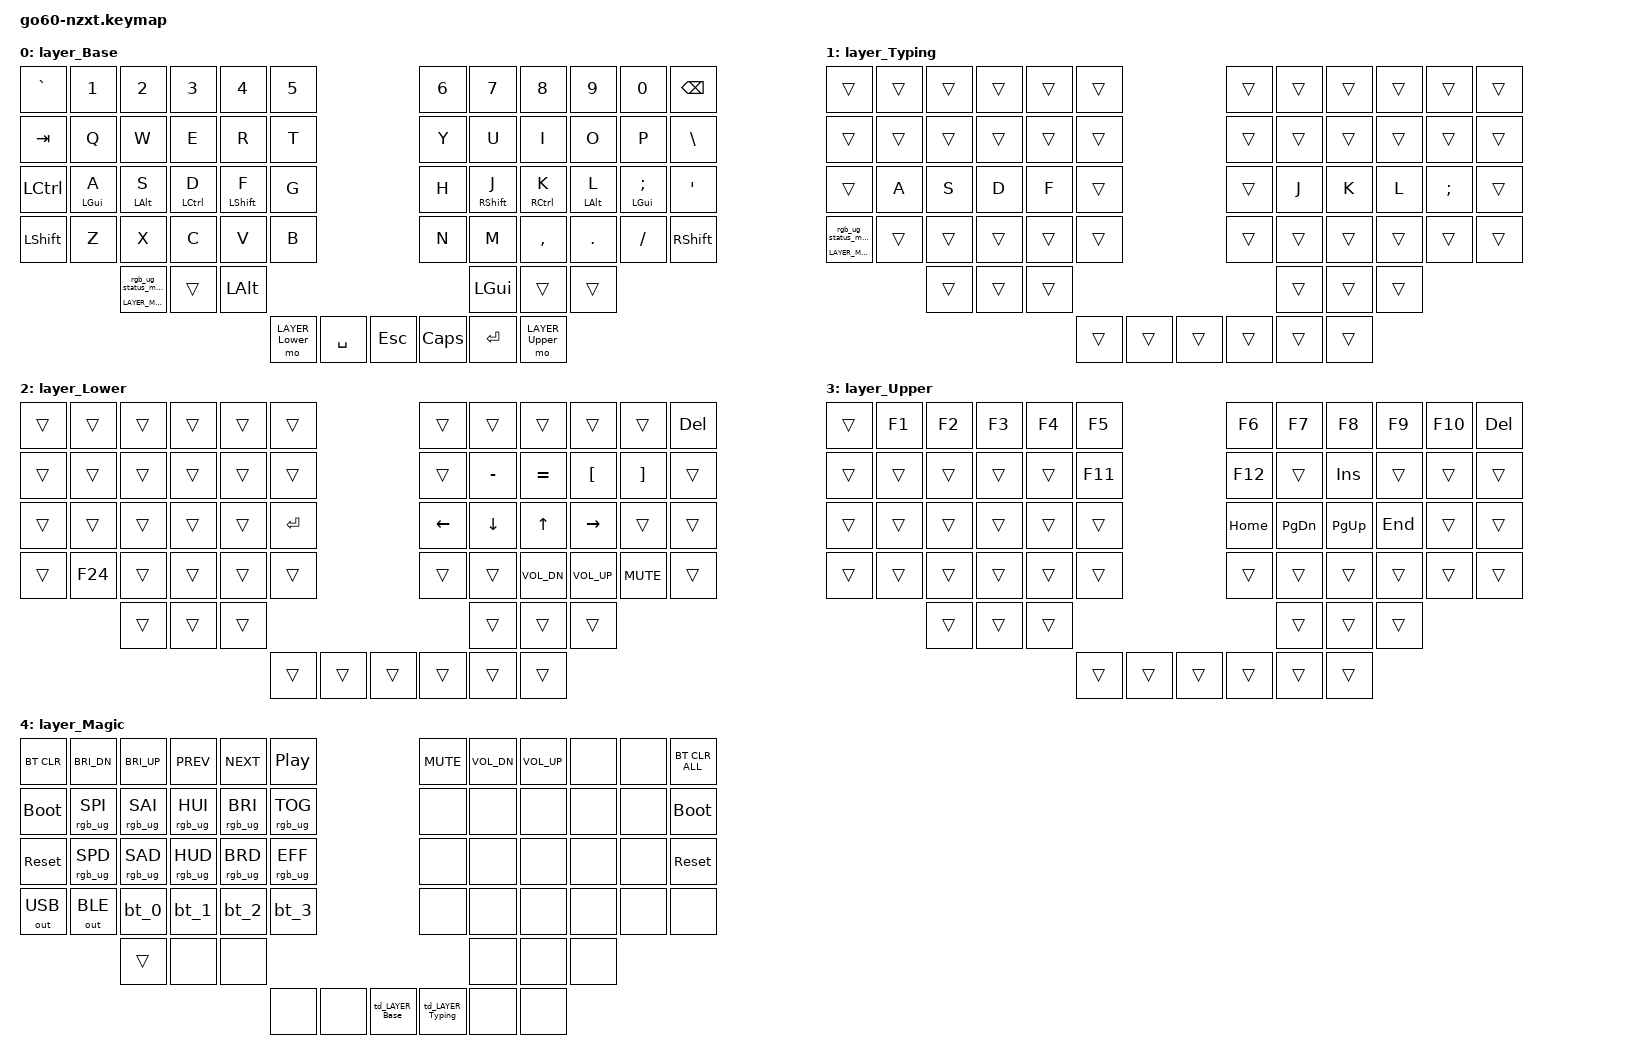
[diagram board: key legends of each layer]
/*
 * Copyright (c) 2020 The ZMK Contributors
 * Copyright (c) 2025 Innaworks Development Limited, trading as MoErgo
 *
 * SPDX-License-Identifier: MIT
 */


/* THIS FILE WAS GENERATED BY GO60 LAYOUT EDITOR
 *
 * This file was generated automatically. You may or may not want to
 * edit it directly.
 */

#include <behaviors.dtsi>

/* Include all behavior includes needed */

#include <dt-bindings/zmk/outputs.h>
#include <dt-bindings/zmk/keys.h>
#include <dt-bindings/zmk/bt.h>
#include <dt-bindings/zmk/rgb.h>

#include <input/processors.dtsi>
#include <dt-bindings/zmk/input_transform.h>
#include <zephyr/dt-bindings/input/input-event-codes.h>

/* On demand includes */
#include <dt-bindings/zmk/input_transform.h>
#include <dt-bindings/zmk/pointing.h>
#include <input/processors.dtsi>

/* Helper Macros, based on https://github.com/urob/zmk-helpers/ */

#pragma once

#define ZMK_HELPER_STRINGIFY(x) #x

// Preprocessor mechanism to overload macros, cf. https://stackoverflow.com/a/27051616/6114651
#define VARGS_(_10, _9, _8, _7, _6, _5, _4, _3, _2, _1, N, ...) N
#define VARGS(...) VARGS_(__VA_ARGS__, 10, 9, 8, 7, 6, 5, 4, 3, 2, 1, 0)
#define CONCAT_(a, b) a##b
#define CONCAT(a, b) CONCAT_(a, b)

#define ZMK_BEHAVIOR_CORE_tap_dance  \
    compatible = "zmk,behavior-tap-dance"; \
    #binding-cells = <0>

#define ZMK_BEHAVIOR(name, type, ...) \
    name: name { \
        ZMK_BEHAVIOR_CORE_ ## type; \
        __VA_ARGS__ \
    };

#define ZMK_TAP_DANCE(name, ...) \
    ZMK_BEHAVIOR(name, tap_dance, __VA_ARGS__)

#define ZMK_TD_LAYER(name, layer) \
    ZMK_TAP_DANCE(name, \
        tapping-term-ms = <200>; \
        bindings = <&mo layer>, <&to layer>; \
)





/* Key positions */

#define POS_LH_C6R1 0
#define POS_LH_C5R1 1
#define POS_LH_C4R1 2
#define POS_LH_C3R1 3
#define POS_LH_C2R1 4
#define POS_LH_C1R1 5
#define POS_RH_C1R1 6
#define POS_RH_C2R1 7
#define POS_RH_C3R1 8
#define POS_RH_C4R1 9
#define POS_RH_C5R1 10
#define POS_RH_C6R1 11
#define POS_LH_C6R2 12
#define POS_LH_C5R2 13
#define POS_LH_C4R2 14
#define POS_LH_C3R2 15
#define POS_LH_C2R2 16
#define POS_LH_C1R2 17
#define POS_RH_C1R2 18
#define POS_RH_C2R2 19
#define POS_RH_C3R2 20
#define POS_RH_C4R2 21
#define POS_RH_C5R2 22
#define POS_RH_C6R2 23
#define POS_LH_C6R3 24
#define POS_LH_C5R3 25
#define POS_LH_C4R3 26
#define POS_LH_C3R3 27
#define POS_LH_C2R3 28
#define POS_LH_C1R3 29
#define POS_RH_C1R3 30
#define POS_RH_C2R3 31
#define POS_RH_C3R3 32
#define POS_RH_C4R3 33
#define POS_RH_C5R3 34
#define POS_RH_C6R3 35
#define POS_LH_C6R4 36
#define POS_LH_C5R4 37
#define POS_LH_C4R4 38
#define POS_LH_C3R4 39
#define POS_LH_C2R4 40
#define POS_LH_C1R4 41
#define POS_RH_C1R4 42
#define POS_RH_C2R4 43
#define POS_RH_C3R4 44
#define POS_RH_C4R4 45
#define POS_RH_C5R4 46
#define POS_RH_C6R4 47
#define POS_LH_C4R5 48
#define POS_LH_C3R5 49
#define POS_LH_C2R5 50
#define POS_RH_C2R5 51
#define POS_RH_C3R5 52
#define POS_RH_C4R5 53
#define POS_LH_T1 54
#define POS_LH_T2 55
#define POS_LH_T3 56
#define POS_RH_T3 57
#define POS_RH_T2 58
#define POS_RH_T1 59


#define LEFT_HAND_KEYS \
  POS_LH_C1R1 POS_LH_C2R1 POS_LH_C3R1 POS_LH_C4R1 POS_LH_C5R1 POS_LH_C6R1 \
  POS_LH_C1R2 POS_LH_C2R2 POS_LH_C3R2 POS_LH_C4R2 POS_LH_C5R2 POS_LH_C6R2 \
  POS_LH_C1R3 POS_LH_C2R3 POS_LH_C3R3 POS_LH_C4R3 POS_LH_C5R3 POS_LH_C6R3 \
  POS_LH_C1R4 POS_LH_C2R4 POS_LH_C3R4 POS_LH_C4R4 POS_LH_C5R4 POS_LH_C6R4 \
              POS_LH_C2R5 POS_LH_C3R5 POS_LH_C4R5

#define RIGHT_HAND_KEYS \
  POS_RH_C1R1 POS_RH_C2R1 POS_RH_C3R1 POS_RH_C4R1 POS_RH_C5R1 POS_RH_C6R1 \
  POS_RH_C1R2 POS_RH_C2R2 POS_RH_C3R2 POS_RH_C4R2 POS_RH_C5R2 POS_RH_C6R2 \
  POS_RH_C1R3 POS_RH_C2R3 POS_RH_C3R3 POS_RH_C4R3 POS_RH_C5R3 POS_RH_C6R3 \
  POS_RH_C1R4 POS_RH_C2R4 POS_RH_C3R4 POS_RH_C4R4 POS_RH_C5R4 POS_RH_C6R4 \
              POS_RH_C2R5 POS_RH_C3R5 POS_RH_C4R5

#define THUMB_KEYS \
  POS_LH_T1 POS_LH_T2 POS_LH_T3 \
  POS_RH_T1 POS_RH_T2 POS_RH_T3

/* Environment and metadata defines */
#define KB_TYPE_GLOVE_80 1
#define KB_TYPE_GO_60    2

#define KB_TYPE          KB_TYPE_GO_60
#define EDITOR_HOST_OS   'W'

/* Automatically generated layer name defines */
#define LAYER_Base 0
#define LAYER_Typing 1
#define LAYER_Lower 2
#define LAYER_Upper 3
#define LAYER_Magic 4

/* To deal with the situation where there is no Lower layer, to keep &lower happy */
#ifndef LAYER_Lower
#define LAYER_Lower 0
#endif

/* Generated input processors */
/ {
    input_processors {
        zip_click_to_right_click_mapper: zip_click_to_right_click_mapper {
            compatible = "zmk,input-processor-code-mapper";
            #input-processor-cells = <0>;
            type = <INPUT_EV_KEY>;
            map = <INPUT_BTN_0 INPUT_BTN_1>;
        };
    };
};

/* Custom Device-tree */
////////////////////////////////////////////////////////////////
// TailorKey 4.2j Go60 - RGB Lighting 
// Paste this configuration into the Custom Device-tree section
// For more into, see https://sites.google.com/view/tailorkey
////////////////////////////////////////////////////////////////

#if __has_include(<dt-bindings/zmk/rgb_colors.h>)
  //
  // Color definitions with conflict guard to prevent
  // accidental redefinition of common abbreviations.
  //
  #if defined(RED) || defined(RED_RGB) || \
      defined(COR) || defined(COR_RGB) || \
      defined(ORN) || defined(ORN_RGB) || \
      defined(GDN) || defined(GDN_RGB) || \
      defined(GOL) || defined(GOL_RGB) || \
      defined(YLW) || defined(YLW_RGB) || \
      defined(CHU) || defined(CHU_RGB) || \
      defined(GRN) || defined(GRN_RGB) || \
      defined(SPG) || defined(SPG_RGB) || \
      defined(CYN) || defined(CYN_RGB) || \
      defined(AZU) || defined(AZU_RGB) || \
      defined(TEA) || defined(TEA_RGB) || \
      defined(TUR) || defined(TUR_RGB) || \
      defined(BLU) || defined(BLU_RGB) || \
      defined(PUR) || defined(PUR_RGB) || \
      defined(MAJ) || defined(MAJ_RGB) || \
      defined(PNK) || defined(PNK_RGB) || \
      defined(WHT) || defined(WHT_RGB) || \
      defined(BLK) || defined(BLK_RGB) || \
      defined(___) || \
      defined(DUG) || defined(DUG_RGB) || \
      defined(LAC) || defined(LAC_RGB) || \
      defined(BSL) || defined(BNL) || defined(BCL) || \
      defined(SSL) || defined(SNL) || defined(SCL) || \
      defined(FST) || defined(WRP) || defined(SLO)
  #error "Naming conflict: 3-letter color abbreviation already defined!"
  #endif

  //
  // color definitions from QMK
  // https://github.com/qmk/qmk_firmware/blob/master/quantum/color.h
  //
  #define RED_RGB 0xFF0000 // #FF0000 RED      => RED (red)
  #define COR_RGB 0xFF7C4D // #FF7C4D CORAL    => COR (coral)
  #define ORN_RGB 0xFF8000 // #FF8000 ORANGE   => ORN (ornj)
  #define GDN_RGB 0xD9A521 // #D9A521 GOLDNROD => GDN (gold'nrod)
  #define GOL_RGB 0xFFD900 // #FFD900 GOLD     => GOL (gold)
  #define YLW_RGB 0xFFFF00 // #FFFF00 YELLOW   => YLW (yellow)
  #define CHU_RGB 0x80FF00 // #80FF00 CHARTRSE => CHU (chartreuse)
  #define GRN_RGB 0x00FF00 // #00FF00 GREEN    => GRN (green)
  #define SPG_RGB 0x00FF80 // #00FF80 SPRINGRN => SPG (spring green)
  #define CYN_RGB 0x00FFFF // #00FFFF CYAN     => CYN (sigh-an)
  #define AZU_RGB 0x99F5FF // #99F5FF AZURE    => AZU (a-zur)
  #define TEA_RGB 0x008080 // #008080 TEAL     => TEA (teel)
  #define TUR_RGB 0x476E6A // #476E6A TURQUOIS => TUR (turquoise)
  #define BLU_RGB 0x0000FF // #0000FF BLUE     => BLU (bloo)
  #define PUR_RGB 0x7A00FF // #7A00FF PURPLE   => PUR (purp)
  #define MAJ_RGB 0xFF00FF // #FF00FF MAGENTA  => MAJ (mah-jenta)
  #define PNK_RGB 0xFF80BF // #FF80BF PINK     => PNK (pink)
  #define WHT_RGB 0xFFFFFF // #FFFFFF WHITE    => WHT (white)
  #define BLK_RGB 0x000000 // #000000 BLACK    => BLK (blak)

  //
  // color definitions from MoErgo
  // https://github.com/moergo-sc/zmk/blob/aca523dfce9b6447ffd19d833b791d44f1f286de/app/src/rgb_underglow.c#L259-L265
  //
  #define DUG_RGB 0x00ff68 // #00ff68 DULL_GRN => DUG (dull green)
  #define LAC_RGB 0x6b1fce // #6b1fce LILAC    => LAC (lilac)

  //
  // underglow for the colors above
  //
  #define RED &ug RED_RGB
  #define COR &ug COR_RGB
  #define ORN &ug ORN_RGB
  #define GDN &ug GDN_RGB
  #define GOL &ug GOL_RGB
  #define YLW &ug YLW_RGB
  #define CHU &ug CHU_RGB
  #define GRN &ug GRN_RGB
  #define SPG &ug SPG_RGB
  #define CYN &ug CYN_RGB
  #define AZU &ug AZU_RGB
  #define TEA &ug TEA_RGB
  #define TUR &ug TUR_RGB
  #define BLU &ug BLU_RGB
  #define PUR &ug PUR_RGB
  #define MAJ &ug MAJ_RGB
  #define PNK &ug PNK_RGB
  #define WHT &ug WHT_RGB
  #define ___ &ug BLK_RGB
  #define DUG &ug DUG_RGB
  #define LAC &ug LAC_RGB

  //
  // underglow for keyboard locks on the Base layer
  //
  #define BSL &ug_sl BLK_RGB RED_RGB // ScrollLock COLOR_OFF COLOR_ON
  #define BNL &ug_nl BLK_RGB RED_RGB // NumLock    COLOR_OFF COLOR_ON
  #define BCL &ug_cl BLK_RGB PNK_RGB // CapsLock   COLOR_OFF COLOR_ON


  //
  // colors for mouse speed scaling in Mouse layers
  //
  #define FST GOL
  #define WRP CHU
  #define SLO COR

  // ==== PER-KEY-RGB <section begins> ====
  / {
    underglow-layer {
      compatible = "zmk,underglow-layer";

   
      #ifdef LAYER_Base
      HRM_Base {
        bindings = <
          ___ ___ BCL BNL BSL ___                                     ___ ___ ___ ___ ___ ___
          ___ ___ ___ ___ ___ ___                                     ___ ___ ___ ___ ___ ___
          ___ MAJ CYN CHU YLW ___                                     ___ YLW CHU CYN MAJ ___
          ___ ___ ___ ___ ___ ___                                     ___ ___ ___ ___ ___ ___
                  ___ ___ ___                                             ___ ___ ___ 
                                       ___ ___ ___     ___ ___ ___ 
        >;
        layer-id = <LAYER_Base>;
        fade-delay = <30>;
      };
      #endif 

    };
  };
  // ==== PER-KEY-RGB <section ends> =====

  #undef RED
  #undef RED_RGB
  #undef COR
  #undef COR_RGB
  #undef ORN
  #undef ORN_RGB
  #undef GDN
  #undef GDN_RGB
  #undef GOL
  #undef GOL_RGB
  #undef YLW
  #undef YLW_RGB
  #undef CHU
  #undef CHU_RGB
  #undef GRN
  #undef GRN_RGB
  #undef SPG
  #undef SPG_RGB
  #undef CYN
  #undef CYN_RGB
  #undef AZU
  #undef AZU_RGB
  #undef TEA
  #undef TEA_RGB
  #undef TUR
  #undef TUR_RGB
  #undef BLU
  #undef BLU_RGB
  #undef PUR
  #undef PUR_RGB
  #undef MAJ
  #undef MAJ_RGB
  #undef PNK
  #undef PNK_RGB
  #undef WHT
  #undef WHT_RGB
  #undef BLK
  #undef BLK_RGB
  #undef ___
  #undef DUG
  #undef DUG_RGB
  #undef LAC
  #undef LAC_RGB

  #undef BSL
  #undef BNL
  #undef BCL

  #undef SSL
  #undef SNL
  #undef SCL

  #undef FST
  #undef WRP
  #undef SLO
#endif


/* Input Listeners */
&cirque_rh_listener {
    input-processors = <&zip_xy_scaler 3 1>;
};

&cirque_lh_listener {
    input-processors = <&zip_xy_scaler 11 12>, <&zip_xy_transform INPUT_TRANSFORM_Y_INVERT>, <&zip_xy_to_scroll_mapper>, <&zip_click_to_right_click_mapper>, <&zip_scroll_scaler 1 8>;
};

/* System behavior and macros */
/ {
    behaviors {
        ZMK_TD_LAYER(lower, LAYER_Lower)
    };
};

/ {
    macros {
        rgb_ug_status_macro: rgb_ug_status_macro {
            label = "RGB_UG_STATUS";
            compatible = "zmk,behavior-macro";
            #binding-cells = <0>;
            bindings
                = <&rgb_ug RGB_STATUS>;
        };
    };
};

/ {
#ifdef BT_DISC_CMD
    behaviors {
        bt_0: bt_0 {
            compatible = "zmk,behavior-tap-dance";
            label = "BT_0";
            #binding-cells = <0>;
            tapping-term-ms = <200>;
            bindings = <&bt_select_0>, <&bt BT_DISC 0>;
        };
        bt_1: bt_1 {
            compatible = "zmk,behavior-tap-dance";
            label = "BT_1";
            #binding-cells = <0>;
            tapping-term-ms = <200>;
            bindings = <&bt_select_1>, <&bt BT_DISC 1>;
        };
        bt_2: bt_2 {
            compatible = "zmk,behavior-tap-dance";
            label = "BT_2";
            #binding-cells = <0>;
            tapping-term-ms = <200>;
            bindings = <&bt_select_2>, <&bt BT_DISC 2>;
        };
        bt_3: bt_3 {
            compatible = "zmk,behavior-tap-dance";
            label = "BT_3";
            #binding-cells = <0>;
            tapping-term-ms = <200>;
            bindings = <&bt_select_3>, <&bt BT_DISC 3>;
        };
    };
    macros {
        bt_select_0: bt_select_0 {
            label = "BT_SELECT_0";
            compatible = "zmk,behavior-macro";
            #binding-cells = <0>;
            bindings
                = <&out OUT_BLE>,
                  <&bt BT_SEL 0>;
        };
        bt_select_1: bt_select_1 {
            label = "BT_SELECT_1";
            compatible = "zmk,behavior-macro";
            #binding-cells = <0>;
            bindings
                = <&out OUT_BLE>,
                  <&bt BT_SEL 1>;
        };
        bt_select_2: bt_select_2 {
            label = "BT_SELECT_2";
            compatible = "zmk,behavior-macro";
            #binding-cells = <0>;
            bindings
                = <&out OUT_BLE>,
                  <&bt BT_SEL 2>;
        };
        bt_select_3: bt_select_3 {
            label = "BT_SELECT_3";
            compatible = "zmk,behavior-macro";
            #binding-cells = <0>;
            bindings
                = <&out OUT_BLE>,
                  <&bt BT_SEL 3>;
        };
    };
#else
    macros {
        bt_0: bt_0 {
            label = "BT_0";
            compatible = "zmk,behavior-macro";
            #binding-cells = <0>;
            bindings
                = <&out OUT_BLE>,
                  <&bt BT_SEL 0>;
        };
        bt_1: bt_1 {
            label = "BT_1";
            compatible = "zmk,behavior-macro";
            #binding-cells = <0>;
            bindings
                = <&out OUT_BLE>,
                  <&bt BT_SEL 1>;
        };
        bt_2: bt_2 {
            label = "BT_2";
            compatible = "zmk,behavior-macro";
            #binding-cells = <0>;
            bindings
                = <&out OUT_BLE>,
                  <&bt BT_SEL 2>;
        };
        bt_3: bt_3 {
            label = "BT_3";
            compatible = "zmk,behavior-macro";
            #binding-cells = <0>;
            bindings
                = <&out OUT_BLE>,
                  <&bt BT_SEL 3>;
        };
    };
#endif
};

/ {
    behaviors {
        magic: magic {
            compatible = "zmk,behavior-hold-tap";
            label = "MAGIC_HOLD_TAP";
            #binding-cells = <2>;
            flavor = "tap-preferred";
            tapping-term-ms = <200>;
            bindings = <&mo>, <&rgb_ug_status_macro>;
        };
    };
};


/* Custom Defined Behaviors */
/ {

};

/* Automatically generated macro definitions */
/ {
    macros {

    };
};

/* Automatically generated behavior definitions */
/ {
    behaviors {

        // Layer tap dance behaviors

        ZMK_TD_LAYER(td_LAYER_Base, 0)
        ZMK_TD_LAYER(td_LAYER_Typing, 1)

        // Homerow Mod for the left index finger - TailorKey.
        // For advanced tuning of HRM values, see: https://docs.google.com/spreadsheets/d/1ESgObQelyz4lnKlfwLYsmofLJulOMK5RdGBsopLe2o8
        HRM_left_index_v1_TKZ: HRM_left_index_v1_TKZ {
            compatible = "zmk,behavior-hold-tap";
            #binding-cells = <2>;
            tapping-term-ms = <190>;
            bindings = <&kp>, <&kp>;
            flavor = "tap-preferred";
            quick-tap-ms = <300>;
            require-prior-idle-ms = <100>;
            hold-trigger-key-positions = <POS_RH_T3 POS_RH_T2 POS_RH_T1 POS_RH_C1R1 POS_RH_C2R1 POS_RH_C3R1 POS_RH_C4R1 POS_RH_C5R1 POS_RH_C1R2 POS_RH_C2R2 POS_RH_C3R2 POS_RH_C4R2 POS_RH_C5R2 POS_RH_C1R3 POS_RH_C2R3 POS_RH_C3R3 POS_RH_C4R3 POS_RH_C5R3 POS_RH_C1R4 POS_RH_C2R4 POS_RH_C3R4 POS_RH_C4R4 POS_RH_C5R4 POS_RH_C2R5 POS_RH_C3R5 POS_RH_C4R5 POS_RH_C6R1 POS_RH_C6R2 POS_RH_C6R3 POS_RH_C6R4 POS_LH_T2 POS_LH_T3 POS_LH_T1>;
            hold-trigger-on-release;
        };

        // Homerow Mod for the left middle finger - TailorKey
        HRM_left_middy_v1_TKZ: HRM_left_middy_v1_TKZ {
            compatible = "zmk,behavior-hold-tap";
            #binding-cells = <2>;
            tapping-term-ms = <210>;
            bindings = <&kp>, <&kp>;
            flavor = "tap-preferred";
            quick-tap-ms = <300>;
            require-prior-idle-ms = <150>;
            hold-trigger-key-positions = <POS_RH_T3 POS_RH_T2 POS_RH_T1 POS_RH_C1R1 POS_RH_C2R1 POS_RH_C3R1 POS_RH_C4R1 POS_RH_C5R1 POS_RH_C1R2 POS_RH_C2R2 POS_RH_C3R2 POS_RH_C4R2 POS_RH_C5R2 POS_RH_C1R3 POS_RH_C2R3 POS_RH_C3R3 POS_RH_C4R3 POS_RH_C5R3 POS_RH_C1R4 POS_RH_C2R4 POS_RH_C3R4 POS_RH_C4R4 POS_RH_C5R4 POS_RH_C2R5 POS_RH_C3R5 POS_RH_C4R5 POS_RH_C6R1 POS_RH_C6R2 POS_RH_C6R3 POS_RH_C6R4 POS_LH_T1 POS_LH_T2 POS_LH_T3>;
            hold-trigger-on-release;
        };

        // Homerow Mod for the left pinky - TailorKey
        HRM_left_pinky_v1_TKZ: HRM_left_pinky_v1_TKZ {
            compatible = "zmk,behavior-hold-tap";
            #binding-cells = <2>;
            tapping-term-ms = <280>;
            bindings = <&kp>, <&kp>;
            flavor = "tap-preferred";
            quick-tap-ms = <300>;
            require-prior-idle-ms = <150>;
            hold-trigger-key-positions = <POS_RH_T3 POS_RH_T2 POS_RH_T1 POS_RH_C1R1 POS_RH_C2R1 POS_RH_C3R1 POS_RH_C4R1 POS_RH_C5R1 POS_RH_C6R1 POS_RH_C2R2 POS_RH_C3R2 POS_RH_C4R2 POS_RH_C5R2 POS_RH_C6R2 POS_RH_C3R3 POS_RH_C4R3 POS_RH_C5R3 POS_RH_C6R3 POS_RH_C3R4 POS_RH_C4R4 POS_RH_C5R4 POS_RH_C6R4 POS_RH_C1R2 POS_RH_C1R3 POS_RH_C2R3 POS_RH_C1R4 POS_RH_C2R4 POS_RH_C2R5 POS_RH_C3R5 POS_RH_C4R5 POS_LH_T1 POS_LH_T2 POS_LH_T3>;
            hold-trigger-on-release;
        };

        // Homerow Mod for the left ring finger 1 - TailorKey
        HRM_left_ring_v1_TKZ: HRM_left_ring_v1_TKZ {
            compatible = "zmk,behavior-hold-tap";
            #binding-cells = <2>;
            tapping-term-ms = <240>;
            bindings = <&kp>, <&kp>;
            flavor = "tap-preferred";
            quick-tap-ms = <300>;
            require-prior-idle-ms = <150>;
            hold-trigger-key-positions = <POS_RH_T3 POS_RH_T2 POS_RH_T1 POS_RH_C1R1 POS_RH_C2R1 POS_RH_C3R1 POS_RH_C4R1 POS_RH_C5R1 POS_RH_C1R2 POS_RH_C2R2 POS_RH_C3R2 POS_RH_C4R2 POS_RH_C5R2 POS_RH_C1R3 POS_RH_C2R3 POS_RH_C3R3 POS_RH_C4R3 POS_RH_C5R3 POS_RH_C1R4 POS_RH_C2R4 POS_RH_C3R4 POS_RH_C4R4 POS_RH_C5R4 POS_RH_C2R5 POS_RH_C3R5 POS_RH_C4R5 POS_RH_C6R1 POS_RH_C6R2 POS_RH_C6R3 POS_RH_C6R4 POS_LH_T1 POS_LH_T2 POS_LH_T3>;
            hold-trigger-on-release;
        };

        // Homerow Mod for the right index finger - TailorKey
        HRM_right_index_v1_TKZ: HRM_right_index_v1_TKZ {
            compatible = "zmk,behavior-hold-tap";
            #binding-cells = <2>;
            tapping-term-ms = <190>;
            bindings = <&kp>, <&kp>;
            flavor = "tap-preferred";
            quick-tap-ms = <300>;
            require-prior-idle-ms = <100>;
            hold-trigger-key-positions = <POS_LH_T3 POS_LH_T2 POS_LH_T1 POS_LH_C6R1 POS_LH_C5R1 POS_LH_C4R1 POS_LH_C3R1 POS_LH_C2R1 POS_LH_C6R2 POS_LH_C5R2 POS_LH_C4R2 POS_LH_C3R2 POS_LH_C2R2 POS_LH_C1R2 POS_LH_C6R3 POS_LH_C5R3 POS_LH_C4R3 POS_LH_C3R3 POS_LH_C2R3 POS_LH_C1R3 POS_LH_C6R4 POS_LH_C5R4 POS_LH_C4R4 POS_LH_C3R4 POS_LH_C2R4 POS_LH_C1R4 POS_LH_C4R5 POS_LH_C3R5 POS_LH_C2R5 POS_LH_C1R1 POS_RH_T3 POS_RH_T2 POS_RH_T1>;
            hold-trigger-on-release;
        };

        // Homerow Mod for the right middle finger - TailorKey
        HRM_right_middy_v1_TKZ: HRM_right_middy_v1_TKZ {
            compatible = "zmk,behavior-hold-tap";
            #binding-cells = <2>;
            tapping-term-ms = <210>;
            bindings = <&kp>, <&kp>;
            flavor = "tap-preferred";
            quick-tap-ms = <300>;
            require-prior-idle-ms = <150>;
            hold-trigger-key-positions = <POS_LH_T3 POS_LH_T2 POS_LH_T1 POS_LH_C6R1 POS_LH_C5R1 POS_LH_C4R1 POS_LH_C3R1 POS_LH_C2R1 POS_LH_C6R2 POS_LH_C5R2 POS_LH_C4R2 POS_LH_C3R2 POS_LH_C2R2 POS_LH_C1R2 POS_LH_C6R3 POS_LH_C5R3 POS_LH_C4R3 POS_LH_C3R3 POS_LH_C2R3 POS_LH_C1R3 POS_LH_C6R4 POS_LH_C5R4 POS_LH_C4R4 POS_LH_C3R4 POS_LH_C2R4 POS_LH_C1R4 POS_LH_C4R5 POS_LH_C3R5 POS_LH_C2R5 POS_LH_C1R1 POS_RH_T3 POS_RH_T2 POS_RH_T1>;
            hold-trigger-on-release;
        };

        // Homerow Mod for the right pinky - TailorKey
        HRM_right_pinky_v1_TKZ: HRM_right_pinky_v1_TKZ {
            compatible = "zmk,behavior-hold-tap";
            #binding-cells = <2>;
            tapping-term-ms = <280>;
            bindings = <&kp>, <&kp>;
            flavor = "tap-preferred";
            quick-tap-ms = <300>;
            require-prior-idle-ms = <150>;
            hold-trigger-key-positions = <POS_LH_T3 POS_LH_T2 POS_LH_T1 POS_LH_C6R1 POS_LH_C5R1 POS_LH_C4R1 POS_LH_C3R1 POS_LH_C2R1 POS_LH_C6R2 POS_LH_C5R2 POS_LH_C4R2 POS_LH_C3R2 POS_LH_C2R2 POS_LH_C1R2 POS_LH_C6R3 POS_LH_C5R3 POS_LH_C4R3 POS_LH_C3R3 POS_LH_C2R3 POS_LH_C1R3 POS_LH_C6R4 POS_LH_C5R4 POS_LH_C4R4 POS_LH_C3R4 POS_LH_C2R4 POS_LH_C1R4 POS_LH_C4R5 POS_LH_C3R5 POS_LH_C2R5 POS_LH_C1R1 POS_RH_T3 POS_RH_T2 POS_RH_T1>;
            hold-trigger-on-release;
        };

        // Homerow Mod for the right ring 1 - TailorKey
        //
        HRM_right_ring_v1_TKZ: HRM_right_ring_v1_TKZ {
            compatible = "zmk,behavior-hold-tap";
            #binding-cells = <2>;
            tapping-term-ms = <240>;
            bindings = <&kp>, <&kp>;
            flavor = "tap-preferred";
            quick-tap-ms = <300>;
            require-prior-idle-ms = <150>;
            hold-trigger-key-positions = <POS_LH_T3 POS_LH_T2 POS_LH_T1 POS_LH_C6R1 POS_LH_C5R1 POS_LH_C4R1 POS_LH_C3R1 POS_LH_C2R1 POS_LH_C6R2 POS_LH_C5R2 POS_LH_C4R2 POS_LH_C3R2 POS_LH_C2R2 POS_LH_C1R2 POS_LH_C6R3 POS_LH_C5R3 POS_LH_C4R3 POS_LH_C3R3 POS_LH_C2R3 POS_LH_C1R3 POS_LH_C6R4 POS_LH_C5R4 POS_LH_C4R4 POS_LH_C3R4 POS_LH_C2R4 POS_LH_C1R4 POS_LH_C4R5 POS_LH_C3R5 POS_LH_C2R5 POS_LH_C1R1 POS_RH_T3 POS_RH_T2 POS_RH_T1>;
            hold-trigger-on-release;
        };

        // space_layer_access - TailorKey
        space_v3_TKZ: space_v3_TKZ {
            compatible = "zmk,behavior-hold-tap";
            #binding-cells = <2>;
            tapping-term-ms = <200>;
            bindings = <&mo>, <&kp>;
            flavor = "balanced";
            quick-tap-ms = <150>;
        };

        // thumb_layer_access - TailorKey
        thumb_v2_TKZ: thumb_v2_TKZ {
            compatible = "zmk,behavior-hold-tap";
            #binding-cells = <2>;
            tapping-term-ms = <200>;
            bindings = <&mo>, <&kp>;
            flavor = "balanced";
            quick-tap-ms = <300>;
        };
    };
};

/* Automatically generated combos definitions */


/* Automatically generated keymap */
/ {
    keymap {
        compatible = "zmk,keymap";


        layer_Base {
            bindings = <
 &kp GRAVE                         &kp N1                        &kp N2                          &kp N3                          &kp N4  &kp N5                                                                           &kp N6                           &kp N7                           &kp N8                         &kp N9                             &kp N0   &kp BSPC
   &kp TAB                          &kp Q                         &kp W                           &kp E                           &kp R   &kp T                                                                            &kp Y                            &kp U                            &kp I                          &kp O                              &kp P   &kp BSLH
 &kp LCTRL  &HRM_left_pinky_v1_TKZ LGUI A  &HRM_left_ring_v1_TKZ LALT S  &HRM_left_middy_v1_TKZ LCTRL D  &HRM_left_index_v1_TKZ LSHFT F   &kp G                                                                            &kp H  &HRM_right_index_v1_TKZ RSHFT J  &HRM_right_middy_v1_TKZ RCTRL K  &HRM_right_ring_v1_TKZ LALT L  &HRM_right_pinky_v1_TKZ LGUI SEMI    &kp SQT
 &kp LSHFT                          &kp Z                         &kp X                           &kp C                           &kp V   &kp B                                                                            &kp N                            &kp M                        &kp COMMA                        &kp DOT                           &kp FSLH  &kp RSHFT
                                                   &magic LAYER_Magic 0                          &trans                        &kp LALT                                                                                                                  &kp LGUI                           &trans                         &trans
                                                                                                                                                 &mo LAYER_Lower  &kp SPACE  &kp ESC  &kp CAPS  &kp RET  &mo LAYER_Upper
            >;
        };

        layer_Typing {
            bindings = <
               &trans  &trans  &trans  &trans  &trans  &trans                                                  &trans  &trans  &trans  &trans    &trans  &trans
               &trans  &trans  &trans  &trans  &trans  &trans                                                  &trans  &trans  &trans  &trans    &trans  &trans
               &trans   &kp A   &kp S   &kp D   &kp F  &trans                                                  &trans   &kp J   &kp K   &kp L  &kp SEMI  &trans
 &magic LAYER_Magic 0  &trans  &trans  &trans  &trans  &trans                                                  &trans  &trans  &trans  &trans    &trans  &trans
                               &trans  &trans  &trans                                                                  &trans  &trans  &trans
                                                               &trans  &trans  &trans  &trans  &trans  &trans
            >;
        };

        layer_Lower {
            bindings = <
 &trans   &trans  &trans  &trans  &trans   &trans                                                    &trans     &trans        &trans        &trans      &trans  &kp DEL
 &trans   &trans  &trans  &trans  &trans   &trans                                                    &trans  &kp MINUS     &kp EQUAL      &kp LBKT    &kp RBKT   &trans
 &trans   &trans  &trans  &trans  &trans  &kp RET                                                  &kp LEFT   &kp DOWN        &kp UP     &kp RIGHT      &trans   &trans
 &trans  &kp F24  &trans  &trans  &trans   &trans                                                    &trans     &trans  &kp C_VOL_DN  &kp C_VOL_UP  &kp C_MUTE   &trans
                  &trans  &trans  &trans                                                                        &trans        &trans        &trans
                                                   &trans  &trans  &trans  &trans  &trans  &trans
            >;
        };

        layer_Upper {
            bindings = <
 &trans  &kp F1  &kp F2  &kp F3  &kp F4   &kp F5                                                    &kp F6     &kp F7     &kp F8   &kp F9  &kp F10  &kp DEL
 &trans  &trans  &trans  &trans  &trans  &kp F11                                                   &kp F12     &trans    &kp INS   &trans   &trans   &trans
 &trans  &trans  &trans  &trans  &trans   &trans                                                  &kp HOME  &kp PG_DN  &kp PG_UP  &kp END   &trans   &trans
 &trans  &trans  &trans  &trans  &trans   &trans                                                    &trans     &trans     &trans   &trans   &trans   &trans
                 &trans  &trans  &trans                                                                        &trans     &trans   &trans
                                                  &trans  &trans  &trans  &trans  &trans  &trans
            >;
        };

        layer_Magic {
            bindings = <
   &bt BT_CLR     &kp C_BRI_DN     &kp C_BRI_UP       &kp C_PREV       &kp C_NEXT         &kp C_PP                                                                    &kp C_MUTE  &kp C_VOL_DN  &kp C_VOL_UP   &none   &none  &bt BT_CLR_ALL
  &bootloader  &rgb_ug RGB_SPI  &rgb_ug RGB_SAI  &rgb_ug RGB_HUI  &rgb_ug RGB_BRI  &rgb_ug RGB_TOG                                                                         &none         &none         &none   &none   &none     &bootloader
   &sys_reset  &rgb_ug RGB_SPD  &rgb_ug RGB_SAD  &rgb_ug RGB_HUD  &rgb_ug RGB_BRD  &rgb_ug RGB_EFF                                                                         &none         &none         &none   &none   &none      &sys_reset
 &out OUT_USB     &out OUT_BLE            &bt_0            &bt_1            &bt_2            &bt_3                                                                         &none         &none         &none   &none   &none           &none
                                         &trans            &none            &none                                                                                                        &none         &none   &none
                                                                                                     &none   &none  &td_LAYER_Base  &td_LAYER_Typing   &none   &none
            >;
        };

    };
};
